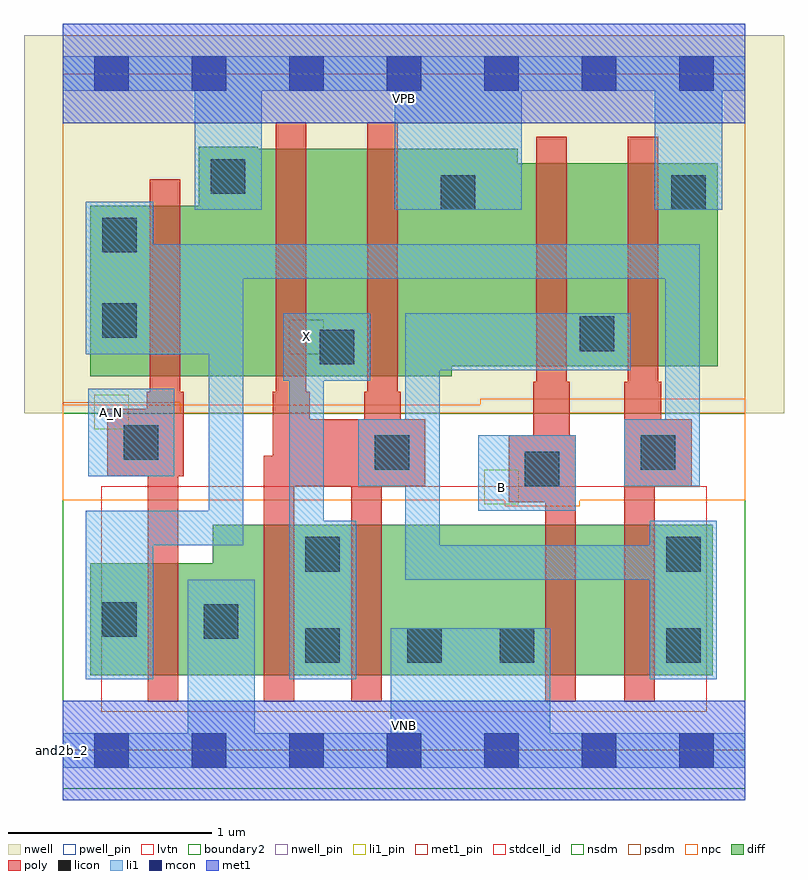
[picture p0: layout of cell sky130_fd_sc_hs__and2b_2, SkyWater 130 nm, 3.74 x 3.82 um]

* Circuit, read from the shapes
.subckt sky130_fd_sc_hs__and2b_2 A_N B VGND VNB VPB VPWR X
XM1 VGND A_N n1 VNB sky130_fd_pr__nfet_01v8_lvt w=0.55 l=0.15
XM2 X n2 VGND VNB sky130_fd_pr__nfet_01v8_lvt w=0.74 l=0.15 m=2
XM3 n3 B VGND VNB sky130_fd_pr__nfet_01v8_lvt w=0.74 l=0.15
XM4 n2 n1 n3 VNB sky130_fd_pr__nfet_01v8_lvt w=0.74 l=0.15
XM5 VPWR A_N n1 VPB sky130_fd_pr__pfet_01v8 w=0.84 l=0.15
XM6 X n2 VPWR VPB sky130_fd_pr__pfet_01v8 w=1.12 l=0.15 m=2
XM7 n2 B VPWR VPB sky130_fd_pr__pfet_01v8 w=1 l=0.15
XM8 VPWR n1 n2 VPB sky130_fd_pr__pfet_01v8 w=1 l=0.15
.ends

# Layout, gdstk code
import gdstk
lib = gdstk.Library(unit=1e-6, precision=1e-09)
def R(c, l, rs):  # rectangles x0, y0, x1, y1
    for r in rs: c.add(gdstk.rectangle(r[:2], r[2:], *l))
def A(c, l, x, y, w, h, nx, ny, dx, dy):  # array of equal rectangles
    R(c, l, [(x+i*dx, y+j*dy, x+i*dx+w, y+j*dy+h) for i in range(nx) for j in range(ny)])
def P(c, l, *ps):  # polygons
    for p in ps: c.add(gdstk.Polygon(p, *l))
nwell_pin = (64, 16)
nwell = (64, 20)
diff = (65, 20)
poly = (66, 20)
licon = (66, 44)
li1_pin = (67, 16)
li1 = (67, 20)
mcon = (67, 44)
met1_pin = (68, 16)
met1 = (68, 20)
stdcell_id = (81, 4)
nsdm = (93, 44)
psdm = (94, 20)
npc = (95, 20)
pwell_pin = (122, 16)
lvtn = (125, 44)
boundary2 = (236, 0)

sky130_fd_sc_hs__and2b_2 = lib.new_cell('sky130_fd_sc_hs__and2b_2')
R(sky130_fd_sc_hs__and2b_2, nwell_pin, [(0,3.085,3.36,3.33)])
R(sky130_fd_sc_hs__and2b_2, nwell, [(-0.19,1.66,3.55,3.52)])
P(sky130_fd_sc_hs__and2b_2, diff, [(3.2,1.11),(0.74,1.11),(0.74,0.92),(0.135,0.92),(0.135,0.37),(3.2,0.37)],
  [(3.225,2.89),(2.24,2.89),(2.24,2.96),(0.96,2.96),(0.96,2.97),(0.67,2.97),(0.67,2.68),(0.135,2.68),(0.135,1.84),(1.915,1.84),(1.915,1.89),(3.225,1.89)])
P(sky130_fd_sc_hs__and2b_2, poly, [(3.095,1.63),(2.945,1.63),(2.945,1.815),(2.93,1.815),(2.93,3.02),(2.78,3.02),(2.78,1.815),(2.765,1.815),(2.765,0.24),(2.915,0.24),(2.915,1.3),(3.095,1.3)],
  [(2.525,1.55),(2.495,1.55),(2.495,1.815),(2.48,1.815),(2.48,3.02),(2.33,3.02),(2.33,1.815),(2.315,1.815),(2.315,1.55),(2.195,1.55),(2.195,1.22),(2.375,1.22),(2.375,0.24),(2.525,0.24)],
  [(1.785,1.63),(1.665,1.63),(1.665,1.765),(1.65,1.765),(1.65,3.09),(1.5,3.09),(1.5,1.765),(1.485,1.765),(1.485,1.63),(1.215,1.63),(1.215,1.765),(1.2,1.765),(1.2,3.09),(1.05,3.09),(1.05,1.765),(1.035,1.765),(1.035,1.45),(0.99,1.45),(0.99,0.24),(1.14,0.24),(1.14,1.3),(1.42,1.3),(1.42,0.24),(1.57,0.24),(1.57,1.3),(1.785,1.3)],
  [(0.595,1.765),(0.58,1.765),(0.58,2.81),(0.43,2.81),(0.43,1.765),(0.415,1.765),(0.415,1.68),(0.22,1.68),(0.22,1.35),(0.42,1.35),(0.42,0.24),(0.57,0.24),(0.57,1.35),(0.595,1.35)])
R(sky130_fd_sc_hs__and2b_2, licon, [(1.195,0.43,1.365,0.6), (1.695,0.43,1.865,0.6), (2.15,0.43,2.32,0.6), (2.97,0.43,3.14,0.6), (0.695,0.55,0.865,0.72), (0.195,0.56,0.365,0.73), (1.195,0.88,1.365,1.05), (2.97,0.88,3.14,1.05), (2.275,1.3,2.445,1.47), (1.535,1.38,1.705,1.55), (2.845,1.38,3.015,1.55), (0.3,1.43,0.47,1.6), (1.265,1.9,1.435,2.07), (2.545,1.965,2.715,2.135), (0.195,2.03,0.365,2.2), (0.195,2.45,0.365,2.62), (1.86,2.66,2.03,2.83), (2.995,2.66,3.165,2.83), (0.73,2.74,0.9,2.91)])
R(sky130_fd_sc_hs__and2b_2, li1_pin, [(2.075,1.21,2.245,1.38), (0.155,1.58,0.325,1.75), (1.115,1.95,1.285,2.12)])
R(sky130_fd_sc_hs__and2b_2, li1, [(2.045,1.18,2.525,1.55), (0.125,1.35,0.55,1.78)])
P(sky130_fd_sc_hs__and2b_2, li1, [(0,-0.085),(0,0.085),(0.615,0.085),(0.615,0.84),(0.945,0.84),(0.945,0.085),(1.615,0.085),(1.615,0.6),(2.4,0.6),(2.4,0.085),(3.36,0.085),(3.36,-0.085)],
  [(0,3.245),(0,3.415),(3.36,3.415),(3.36,3.245),(3.245,3.245),(3.245,2.66),(2.915,2.66),(2.915,3.245),(2.26,3.245),(2.26,2.66),(1.635,2.66),(1.635,3.245),(0.98,3.245),(0.98,2.66),(0.65,2.66),(0.65,3.245)],
  [(1.515,2.15),(1.515,1.82),(1.285,1.82),(1.285,1.13),(1.445,1.13),(1.445,0.35),(1.115,0.35),(1.115,1.82),(1.085,1.82),(1.085,2.15)],
  [(0.115,1.95),(0.115,2.7),(0.445,2.7),(0.445,2.49),(3.135,2.49),(3.135,1.3),(2.765,1.3),(2.765,1.63),(2.965,1.63),(2.965,2.32),(0.89,2.32),(0.89,1.01),(0.445,1.01),(0.445,0.35),(0.115,0.35),(0.115,1.18),(0.72,1.18),(0.72,1.95)],
  [(1.685,0.84),(1.685,1.3),(1.455,1.3),(1.455,1.63),(1.685,1.63),(1.685,2.15),(2.795,2.15),(2.795,1.87),(1.855,1.87),(1.855,1.01),(2.89,1.01),(2.89,1.13),(3.22,1.13),(3.22,0.35),(2.89,0.35),(2.89,0.84)])
A(sky130_fd_sc_hs__and2b_2, mcon, 0.155, -0.085, 0.17, 0.17, 7, 2, 0.48, 3.33)
R(sky130_fd_sc_hs__and2b_2, met1_pin, [(0,0,3.36,0.245), (0,3.085,3.36,3.33)])
R(sky130_fd_sc_hs__and2b_2, met1, [(0,-0.245,3.36,0.245), (0,3.085,3.36,3.575)])
R(sky130_fd_sc_hs__and2b_2, stdcell_id, [(0,0,3.36,3.33)])
R(sky130_fd_sc_hs__and2b_2, nsdm, [(0,-0.19,3.36,1.66)])
P(sky130_fd_sc_hs__and2b_2, psdm, [(3.36,3.52),(0,3.52),(0,1.71),(0.58,1.71),(0.58,1.66),(3.36,1.66)])
P(sky130_fd_sc_hs__and2b_2, npc, [(3.36,1.73),(2.055,1.73),(2.055,1.7),(0,1.7),(0,1.23),(2.175,1.23),(2.175,1.2),(2.545,1.2),(2.545,1.23),(3.36,1.23)])
R(sky130_fd_sc_hs__and2b_2, pwell_pin, [(0,0,3.36,0.245)])
R(sky130_fd_sc_hs__and2b_2, lvtn, [(0.19,0.19,3.17,1.3)])
R(sky130_fd_sc_hs__and2b_2, boundary2, [(0,0,3.36,3.33)])
sky130_fd_sc_hs__and2b_2.add(gdstk.Label('and2b_2', (0,0), layer=83, texttype=44))
sky130_fd_sc_hs__and2b_2.add(gdstk.Label('VNB', (1.68,0.123), layer=64, texttype=59))
sky130_fd_sc_hs__and2b_2.add(gdstk.Label('VPB', (1.68,3.208), layer=64, texttype=5))
sky130_fd_sc_hs__and2b_2.add(gdstk.Label('VPWR', (1.68,3.208), layer=68, texttype=5))
sky130_fd_sc_hs__and2b_2.add(gdstk.Label('VGND', (1.68,0.123), layer=68, texttype=5))
sky130_fd_sc_hs__and2b_2.add(gdstk.Label('X', (1.2,2.035), layer=67, texttype=5))
sky130_fd_sc_hs__and2b_2.add(gdstk.Label('B', (2.16,1.295), layer=67, texttype=5))
sky130_fd_sc_hs__and2b_2.add(gdstk.Label('A_N', (0.24,1.665), layer=67, texttype=5))

lib.write_gds('sky130_fd_sc_hs__and2b_2.gds')
